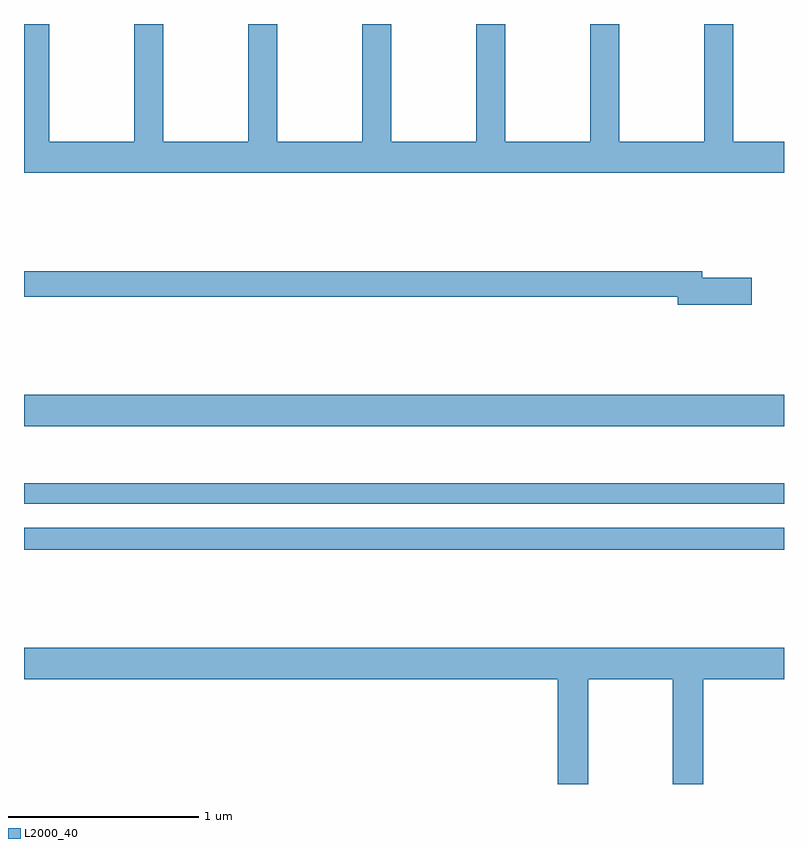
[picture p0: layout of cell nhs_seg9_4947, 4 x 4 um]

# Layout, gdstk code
import gdstk
lib = gdstk.Library(unit=1e-6, precision=1e-09)
def R(c, l, rs):  # rectangles x0, y0, x1, y1
    for r in rs: c.add(gdstk.rectangle(r[:2], r[2:], *l))
def P(c, l, *ps):  # polygons
    for p in ps: c.add(gdstk.Polygon(p, *l))
L2000_40 = (2000, 40)

nhs_seg9_4947 = lib.new_cell('nhs_seg9_4947')
R(nhs_seg9_4947, L2000_40, [(397,1231.732,401,1231.848), (397,1231.974,401,1232.083), (397,1232.384,401,1232.548)])
P(nhs_seg9_4947, L2000_40, [(401,1233.88),(400.734,1233.88),(400.734,1234.5),(400.579,1234.5),(400.579,1233.88),(400.134,1233.88),(400.134,1234.5),(399.979,1234.5),(399.979,1233.88),(399.534,1233.88),(399.534,1234.5),(399.379,1234.5),(399.379,1233.88),(398.934,1233.88),(398.934,1234.5),(398.779,1234.5),(398.779,1233.88),(398.334,1233.88),(398.334,1234.5),(398.179,1234.5),(398.179,1233.88),(397.734,1233.88),(397.734,1234.5),(397.579,1234.5),(397.579,1233.88),(397.134,1233.88),(397.134,1234.5),(397,1234.5),(397,1233.716),(401,1233.716)],
  [(400.831,1233.164),(400.57,1233.164),(400.57,1233.2),(397,1233.2),(397,1233.064),(400.442,1233.064),(400.442,1233.022),(400.831,1233.022)],
  [(397,1231.052),(399.809,1231.052),(399.809,1230.5),(399.969,1230.5),(399.969,1231.052),(400.414,1231.052),(400.414,1230.5),(400.574,1230.5),(400.574,1231.052),(401,1231.052),(401,1231.216),(397,1231.216)])

lib.write_gds('nhs_seg9_4947.gds')
